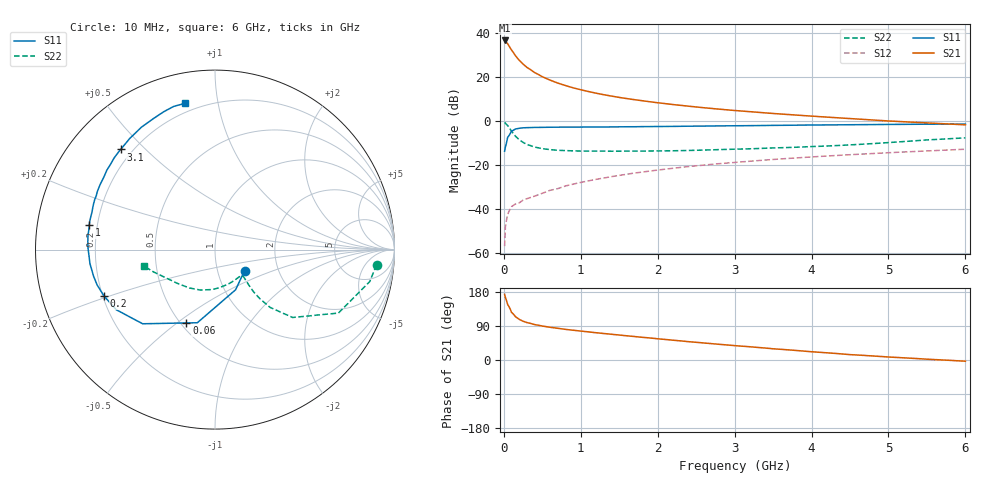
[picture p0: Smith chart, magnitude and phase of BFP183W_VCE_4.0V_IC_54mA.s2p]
! Infineon Technologies  Discrete & RF Semiconductors
! BFP183W
! VCE =  4.0 V,  IC =  54 mA
! Common Emitter S-Parameters:  Jan 2017
# GHz  S  MA  R  50
!  f  S11  S21  S12  S22
! GHz  MAG  ANG  MAG  ANG  MAG  ANG  MAG  ANG
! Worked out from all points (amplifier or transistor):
!   77 points, 10 MHz to 6 GHz, reference 50 ohm
!   highest |S21| = 36.5 dB at 10 MHz (marker M1)
!   |S21| within 3 dB of that: start of sweep to 75.78 MHz
!   unconditionally stable (mu >= 1): 468.1 MHz to 3.589 GHz
!   at 130 MHz: K = 0.48, MSG = 34.5 dB, |S12| = -38.4 dB
!   at 2.2 GHz: K = 1.12, MAG = 12.4 dB, |S12| = -21.7 dB
!   at 6 GHz: K = 0.88, MSG = 5.5 dB, |S12| = -13.0 dB
!   S11 on the Smith chart (normalised r, x): 10 MHz: 1.35, -0.33; 60 MHz: 0.53, -0.54; 200 MHz: 0.21, -0.19; 1 GHz: 0.17, +0.09; 3.1 GHz: 0.16, +0.42; 6 GHz: 0.15, +0.80
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0.01  0.202 -35.3  66.47 173.1  0.0014 82.5  0.904 -5.4
0.02  0.2515 -62.8  64.73 165.2  0.0038 80.2  0.8802 -11.7
0.05  0.4193 -103.6  55.82 146.2  0.0074 61.9  0.7733 -27.2
0.06  0.4387 -111.3  52.27 143.1  0.0081 60.0  0.7306 -29.4
0.1  0.5773 -134.3  40.27 125.7  0.0111 55.0  0.5741 -41.2
0.15  0.6444 -148.7  30.05 114.5  0.0127 49.5  0.4443 -46.4
0.2  0.6702 -157.3  23.56 107.3  0.0135 47.9  0.3686 -47.6
0.25  0.6856 -163.3  19.28 102.3  0.0156 49.7  0.3201 -47.6
0.3  0.6924 -167.5  16.25 98.8  0.0168 51.9  0.2879 -46.9
0.4  0.701 -173.5  12.39 93.4  0.0192 56.2  0.2505 -45.3
0.5  0.7032 -177.5  9.964 89.6  0.0223 59.9  0.2307 -44.2
0.6  0.7077 179.2  8.344 86.4  0.026 62.1  0.2195 -43.7
0.7  0.71 176.3  7.16 83.7  0.0284 64.3  0.2118 -43.6
0.8  0.7122 173.6  6.28 80.9  0.0327 65.8  0.2085 -44.3
1  0.7138 169.1  5.038 76.3  0.0394 67.6  0.2035 -46.5
1.1  0.7156 167.3  4.584 74.2  0.0427 68.1  0.2033 -47.9
1.5  0.7227 159.5  3.371 65.9  0.0569 68.3  0.2023 -55.3
2.1  0.7371 148.6  2.434 54.2  0.0789 66.8  0.2055 -70.3
3.1  0.7664 133.3  1.648 36.4  0.1158 61.4  0.2264 -99.3
4.1  0.7972 119.8  1.234 20.4  0.1531 54.7  0.2607 -126.9
5.1  0.8213 109.5  0.962 6.8  0.19 47.5  0.3255 -152.5
6  0.8319 101.6  0.802 -3.2  0.2239 40.5  0.4061 -166.9
